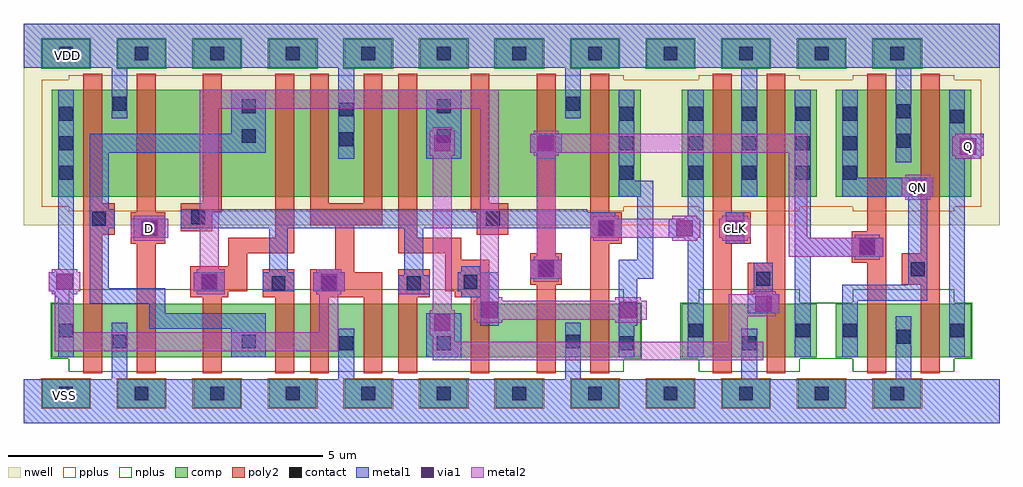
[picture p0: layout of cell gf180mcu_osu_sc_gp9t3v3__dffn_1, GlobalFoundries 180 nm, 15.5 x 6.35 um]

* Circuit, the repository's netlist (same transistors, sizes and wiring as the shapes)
* Copyright 2022 Google LLC
*
* Licensed under the Apache License, Version 2.0 (the "License");
* you may not use this file except in compliance with the License.
* You may obtain a copy of the License at
*
*      http://www.apache.org/licenses/LICENSE-2.0
*
* Unless required by applicable law or agreed to in writing, software
* distributed under the License is distributed on an "AS IS" BASIS,
* WITHOUT WARRANTIES OR CONDITIONS OF ANY KIND, either express or implied.
* See the License for the specific language governing permissions and
* limitations under the License.

* NGSPICE file created from gf180mcu_osu_sc_gp9t3v3__dffn_1.ext - technology: gf180mcuC

.subckt gf180mcu_osu_sc_gp9t3v3__dffn_1 D Q QN CLK VDD VSS
X0 a_19_16# a_50_61# a_42_72# VDD pfet_03p3 w=1.7u l=0.3u
X1 a_161_44# a_125_21# VSS VSS nfet_03p3 w=0.85u l=0.3u
X2 VSS a_9_21# a_86_21# VSS nfet_03p3 w=0.85u l=0.3u
X3 a_19_16# a_53_40# a_42_21# VSS nfet_03p3 w=0.85u l=0.3u
X4 VDD a_19_16# a_9_21# VDD pfet_03p3 w=1.7u l=0.3u
X5 a_53_40# a_50_61# VDD VDD pfet_03p3 w=1.7u l=0.3u
X6 VDD a_161_44# QN VDD pfet_03p3 w=1.7u l=0.3u
X7 VSS a_19_16# a_9_21# VSS nfet_03p3 w=0.85u l=0.3u
X8 VDD CLK a_50_61# VDD pfet_03p3 w=1.7u l=0.3u
X9 a_53_40# a_50_61# VSS VSS nfet_03p3 w=0.85u l=0.3u
X10 a_148_72# a_50_61# a_125_21# VDD pfet_03p3 w=1.7u l=0.3u
X11 VSS a_161_44# QN VSS nfet_03p3 w=0.85u l=0.3u
X12 a_114_72# a_9_21# VDD VDD pfet_03p3 w=1.7u l=0.3u
X13 VSS CLK a_50_61# VSS nfet_03p3 w=0.85u l=0.3u
X14 a_148_21# a_53_40# a_125_21# VSS nfet_03p3 w=0.85u l=0.3u
X15 a_42_72# D VDD VDD pfet_03p3 w=1.7u l=0.3u
X16 a_125_21# a_53_40# a_114_72# VDD pfet_03p3 w=1.7u l=0.3u
X17 a_114_21# a_9_21# VSS VSS nfet_03p3 w=0.85u l=0.3u
X18 a_86_72# a_53_40# a_19_16# VDD pfet_03p3 w=1.7u l=0.3u
X19 VDD a_161_44# a_148_72# VDD pfet_03p3 w=1.7u l=0.3u
X20 Q QN VDD VDD pfet_03p3 w=1.7u l=0.3u
X21 a_42_21# D VSS VSS nfet_03p3 w=0.85u l=0.3u
X22 a_125_21# a_50_61# a_114_21# VSS nfet_03p3 w=0.85u l=0.3u
X23 a_161_44# a_125_21# VDD VDD pfet_03p3 w=1.7u l=0.3u
X24 VDD a_9_21# a_86_72# VDD pfet_03p3 w=1.7u l=0.3u
X25 a_86_21# a_50_61# a_19_16# VSS nfet_03p3 w=0.85u l=0.3u
X26 VSS a_161_44# a_148_21# VSS nfet_03p3 w=0.85u l=0.3u
X27 Q QN VSS VSS nfet_03p3 w=0.85u l=0.3u
.ends

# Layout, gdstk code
import gdstk
lib = gdstk.Library(unit=1e-6, precision=1e-09)
def R(c, l, rs):  # rectangles x0, y0, x1, y1
    for r in rs: c.add(gdstk.rectangle(r[:2], r[2:], *l))
def A(c, l, x, y, w, h, nx, ny, dx, dy):  # array of equal rectangles
    R(c, l, [(x+i*dx, y+j*dy, x+i*dx+w, y+j*dy+h) for i in range(nx) for j in range(ny)])
nwell = (21, 0)
comp = (22, 0)
poly2 = (30, 0)
pplus = (31, 0)
nplus = (32, 0)
contact = (33, 0)
metal1 = (34, 0)
via1 = (35, 0)
metal2 = (36, 0)

gf180mcu_osu_sc_gp9t3v3_ = lib.new_cell('gf180mcu_osu_sc_gp9t3v3__dffn_1')
R(gf180mcu_osu_sc_gp9t3v3_, nwell, [(0,3.15,15.5,6.35)])
A(gf180mcu_osu_sc_gp9t3v3_, comp, 0.3, 0.25, 0.75, 0.45, 12, 2, 1.2, 5.4)
R(gf180mcu_osu_sc_gp9t3v3_, comp, [(0.45,1.05,9.8,1.9), (10.45,1.05,12.6,1.9), (12.9,1.05,15.05,1.9), (0.45,3.6,9.8,5.3), (10.45,3.6,12.6,5.3), (12.9,3.6,15.05,5.3)])
R(gf180mcu_osu_sc_gp9t3v3_, poly2, [(0.95,0.8,1.25,3), (1.8,0.8,2.1,2.85), (2.85,0.8,3.15,2), (4,0.8,4.3,2), (4.55,0.8,4.85,2), (5.4,0.8,5.7,2), (5.95,0.8,6.25,2), (7.1,0.8,7.4,2), (8.15,0.8,8.45,2.2), (9,0.8,9.3,2.85), (10.95,0.8,11.25,2.85), (11.8,0.8,12.1,2.05), (13.4,0.8,13.7,2.55), (14.25,0.8,14.55,2.2), (2.65,2,3.25,2.1), (3.8,2,4.3,2.45), (4.55,2,5.7,2.4), (5.95,2,6.45,2.45), (6.85,2,7.4,2.1), (11.5,2.05,12.1,2.55), (2.65,2.1,3.55,2.5), (6.7,2.1,7.4,2.6), (8.05,2.2,8.55,2.7), (13.95,2.2,14.55,2.7), (4.55,2.4,5.25,2.45), (4.95,2.45,5.25,3.15), (3.25,2.5,3.55,2.7), (11.8,2.55,12.1,5.55), (13.15,2.55,13.7,3.05), (6.7,2.6,6.95,2.7), (3.25,2.7,4.3,2.95), (5.95,2.7,6.95,2.95), (8.15,2.7,8.45,5.55), (14.25,2.7,14.55,5.55), (1.7,2.85,2.25,3.35), (9,2.85,9.5,3.35), (10.95,2.85,11.55,3.35), (4,2.95,4.3,5.55), (5.95,2.95,6.25,5.55), (0.95,3,1.45,3.5), (7.2,3,7.7,3.35), (2.5,3.05,3,3.35), (13.4,3.05,13.7,5.55), (4.55,3.15,5.7,3.5), (1.8,3.35,2.1,5.55), (2.5,3.35,3.15,3.5), (7.1,3.35,7.7,3.5), (9,3.35,9.3,5.55), (10.95,3.35,11.25,5.55), (0.95,3.5,1.25,5.55), (2.85,3.5,3.15,5.55), (4.55,3.5,4.85,5.55), (5.4,3.5,5.7,5.55), (7.1,3.5,7.4,5.55)])
A(gf180mcu_osu_sc_gp9t3v3_, pplus, 0.28, 0.23, 0.79, 0.49, 12, 1, 1.2, 0)
R(gf180mcu_osu_sc_gp9t3v3_, pplus, [(0.72,3.37,9.53,3.44), (10.72,3.37,12.33,3.44), (13.17,3.37,14.78,3.44), (0.29,3.44,15.21,5.46), (0.72,5.46,9.53,5.53), (10.72,5.46,12.33,5.53), (13.17,5.46,14.78,5.53)])
A(gf180mcu_osu_sc_gp9t3v3_, nplus, 0.28, 5.63, 0.79, 0.49, 12, 1, 1.2, 0)
R(gf180mcu_osu_sc_gp9t3v3_, nplus, [(0.72,0.82,9.53,1.03), (10.72,0.82,12.33,1.03), (13.17,0.82,14.78,1.03), (0.43,1.03,9.82,1.92), (10.43,1.03,15.07,1.92), (0.72,1.92,9.53,2.13), (10.72,1.92,12.33,2.13), (13.17,1.92,14.78,2.13)])
A(gf180mcu_osu_sc_gp9t3v3_, contact, 0.565, 0.365, 0.22, 0.22, 12, 2, 1.2, 5.4)
A(gf180mcu_osu_sc_gp9t3v3_, contact, 0.565, 3.87, 0.22, 0.22, 1, 3, 0, 0.47)
A(gf180mcu_osu_sc_gp9t3v3_, contact, 9.465, 3.87, 0.22, 0.22, 1, 3, 0, 0.47)
A(gf180mcu_osu_sc_gp9t3v3_, contact, 10.565, 3.87, 0.22, 0.22, 3, 3, 0.85, 0.47)
A(gf180mcu_osu_sc_gp9t3v3_, contact, 13.015, 3.87, 0.22, 0.22, 1, 3, 0, 0.47)
R(gf180mcu_osu_sc_gp9t3v3_, contact, [(5.015,1.165,5.235,1.385), (6.565,1.165,6.785,1.385), (9.465,1.165,9.685,1.385), (11.415,1.165,11.635,1.385), (1.415,1.19,1.635,1.41), (3.465,1.19,3.685,1.41), (8.615,1.19,8.835,1.41), (13.865,1.265,14.085,1.485), (0.565,1.365,0.785,1.585), (10.565,1.365,10.785,1.585), (12.265,1.365,12.485,1.585), (13.015,1.365,13.235,1.585), (14.715,1.365,14.935,1.585), (3.94,2.115,4.16,2.335), (4.74,2.115,4.96,2.335), (6.09,2.115,6.31,2.335), (2.84,2.14,3.06,2.36), (6.99,2.14,7.21,2.36), (11.64,2.19,11.86,2.41), (8.19,2.34,8.41,2.56), (14.09,2.34,14.31,2.56), (13.29,2.69,13.51,2.91), (1.89,2.99,2.11,3.21), (9.14,2.99,9.36,3.21), (11.19,2.99,11.41,3.21), (1.09,3.14,1.31,3.36), (7.34,3.14,7.56,3.36), (2.665,3.165,2.885,3.385), (13.865,4.38,14.085,4.6), (5.015,4.405,5.235,4.625), (3.465,4.455,3.685,4.675), (6.565,4.455,6.785,4.675), (14.715,4.765,14.935,4.985), (13.865,4.85,14.085,5.07), (5.015,4.875,5.235,5.095), (3.465,4.925,3.685,5.145), (6.565,4.925,6.785,5.145), (1.415,4.965,1.635,5.185), (8.615,4.965,8.835,5.185)])
R(gf180mcu_osu_sc_gp9t3v3_, metal1, [(0,0,15.5,0.7), (1.4,0.7,1.65,1.6), (5,0.7,5.25,1.5), (8.6,0.7,8.85,1.6), (11.4,0.7,11.65,1.5), (13.85,0.7,14.1,1.7), (0.55,1.05,0.8,2), (3.3,1.05,3.85,1.5), (6.4,1.05,6.95,1.75), (9.45,1.05,9.7,1.55), (10.55,1.05,10.8,2.9), (12.25,1.05,12.5,2.65), (13,1.05,13.25,1.95), (14.7,1.05,14.95,4.2), (2,1.5,3.85,1.75), (7.25,1.55,7.55,2), (9.45,1.55,9.75,2.3), (2,1.75,2.25,1.9), (11.5,1.75,12,2.05), (1.05,1.9,2.25,2.15), (13,1.95,14.35,2.2), (0.5,2,0.8,2.1), (6.95,2,7.55,2.1), (5.95,2.05,6.45,2.35), (11.6,2.05,11.9,2.55), (0.4,2.1,0.8,2.4), (2.7,2.1,3.2,2.4), (3.8,2.1,4.3,2.4), (4.6,2.1,5.1,2.4), (6.9,2.1,7.55,2.4), (1.05,2.15,1.35,3.1), (14.05,2.2,14.35,3.6), (8.05,2.3,8.55,2.6), (9.45,2.3,10,2.6), (6.05,2.35,6.35,3.1), (0.5,2.4,0.8,2.45), (3.9,2.4,4.2,3.1), (4.7,2.4,5,2.45), (6.95,2.4,7.25,2.5), (0.55,2.45,0.8,5.3), (9.75,2.6,10,3.6), (12.25,2.65,13.65,2.95), (11.15,2.85,11.45,3.35), (10.5,2.9,10.8,2.95), (1.75,2.95,2.25,3.25), (9,2.95,9.5,3.1), (10.25,2.95,10.8,3.25), (12.25,2.95,12.5,5.3), (1.05,3.1,1.45,3.4), (2.5,3.1,9.5,3.25), (2.5,3.25,9.4,3.35), (10.5,3.25,10.8,3.3), (10.55,3.3,10.8,5.3), (2.5,3.35,8.95,3.4), (1.05,3.4,1.35,4.3), (9.45,3.6,10,3.85), (11.4,3.6,11.65,5.65), (13,3.6,14.45,3.9), (9.45,3.85,9.7,5.3), (13,3.9,13.25,5.3), (13.85,4.15,14.1,5.65), (5,4.2,5.25,5.65), (6.4,4.2,6.95,5.3), (8.15,4.2,8.45,4.3), (14.7,4.2,15.2,4.25), (14.7,4.25,15.25,4.6), (1.05,4.3,3.85,4.6), (8.05,4.3,8.55,4.6), (3.3,4.6,3.85,5.3), (14.7,4.6,14.95,5.3), (1.4,4.85,1.65,5.65), (8.6,4.85,8.85,5.65), (0,5.65,15.5,6.35)])
R(gf180mcu_osu_sc_gp9t3v3_, via1, [(6.52,1.47,6.78,1.73), (7.27,1.67,7.53,1.93), (9.47,1.67,9.73,1.93), (11.62,1.77,11.88,2.03), (0.52,2.12,0.78,2.38), (2.82,2.12,3.08,2.38), (4.72,2.12,4.98,2.38), (8.17,2.32,8.43,2.58), (13.27,2.67,13.53,2.93), (1.87,2.97,2.13,3.23), (9.12,2.97,9.38,3.23), (10.37,2.97,10.63,3.23), (11.17,2.97,11.43,3.23), (14.07,3.62,14.33,3.88), (14.87,4.27,15.13,4.53), (6.52,4.32,6.78,4.58), (8.17,4.32,8.43,4.58)])
R(gf180mcu_osu_sc_gp9t3v3_, metal2, [(6.5,1,11.75,1.3), (0.5,1.15,5,1.45), (6.5,1.3,6.85,1.4), (11.2,1.3,11.5,1.7), (6.45,1.4,6.85,1.8), (0.5,1.45,0.8,2.05), (4.7,1.45,5,2.05), (7.2,1.6,7.6,1.65), (9.4,1.6,9.8,1.65), (7.15,1.65,9.9,1.95), (11.2,1.7,11.95,1.75), (11.2,1.75,12,2.05), (6.5,1.8,6.8,4.25), (7.2,1.95,7.6,2), (9.4,1.95,9.8,2), (7.25,2,7.55,5), (0.45,2.05,0.85,2.1), (2.75,2.05,3.2,2.1), (4.65,2.05,5.05,2.1), (11.55,2.05,11.95,2.1), (0.4,2.1,0.9,2.4), (2.7,2.1,3.2,2.4), (4.6,2.1,5.1,2.4), (8.1,2.25,8.5,2.3), (8.05,2.3,8.55,2.6), (0.45,2.4,0.85,2.45), (2.75,2.4,3.2,2.45), (4.65,2.4,5.05,2.45), (2.8,2.45,3.1,5), (8.1,2.6,8.5,2.65), (13.2,2.6,13.6,2.65), (8.15,2.65,8.45,4.25), (12.15,2.65,13.65,2.95), (1.75,2.9,2.25,2.95), (9.05,2.9,9.45,2.95), (10.3,2.9,10.7,2.95), (11.1,2.9,11.5,2.95), (1.7,2.95,2.3,3.25), (9,2.95,10.75,3.25), (11.05,2.95,11.55,3.25), (12.15,2.95,12.45,4.3), (13.2,2.95,13.6,3), (1.75,3.25,2.25,3.3), (9.05,3.25,9.45,3.3), (10.3,3.25,10.7,3.3), (11.1,3.25,11.5,3.3), (14,3.55,14.4,3.6), (13.95,3.6,14.45,3.9), (14,3.9,14.4,3.95), (14.8,4.2,15.2,4.25), (6.45,4.25,6.85,4.65), (8.1,4.25,8.5,4.3), (14.75,4.25,15.25,4.55), (8.05,4.3,12.45,4.6), (14.8,4.55,15.2,4.6), (8.1,4.6,8.5,4.65), (6.5,4.65,6.8,4.7), (2.8,5,7.55,5.3)])
gf180mcu_osu_sc_gp9t3v3_.add(gdstk.Label('D', (2,3.1), layer=36, texttype=10))
gf180mcu_osu_sc_gp9t3v3_.add(gdstk.Label('Q', (15,4.4), layer=36, texttype=10))
gf180mcu_osu_sc_gp9t3v3_.add(gdstk.Label('QN', (14.2,3.75), layer=36, texttype=10))
gf180mcu_osu_sc_gp9t3v3_.add(gdstk.Label('CLK', (11.3,3.1), layer=36, texttype=10))
gf180mcu_osu_sc_gp9t3v3_.add(gdstk.Label('VDD', (0.7,5.85), layer=34, texttype=10))
gf180mcu_osu_sc_gp9t3v3_.add(gdstk.Label('VSS', (0.65,0.45), layer=34, texttype=10))

lib.write_gds('gf180mcu_osu_sc_gp9t3v3__dffn_1.gds')
